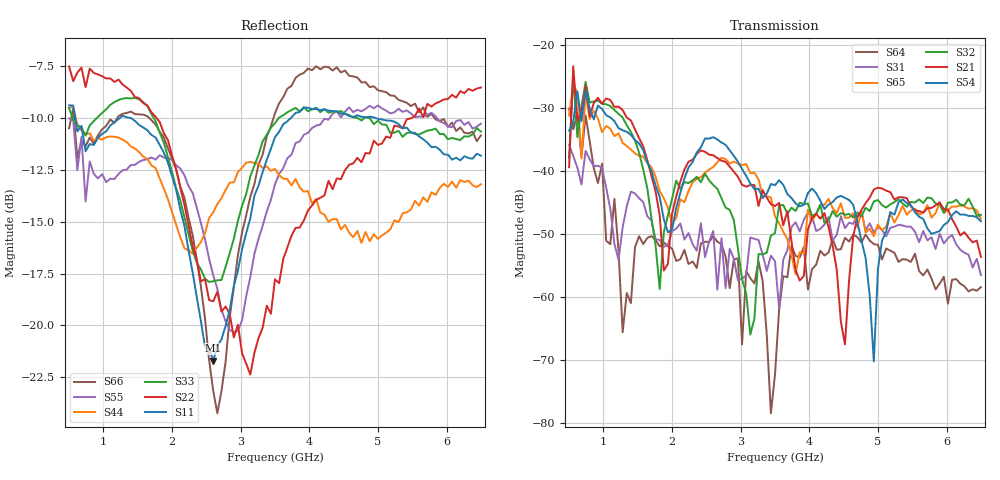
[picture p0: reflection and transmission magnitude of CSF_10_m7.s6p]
!Keysight Technologies,M9804A,MY58100912,A.14.10.03
!Date: Thursday, April 27, 2023 10:28:33
!Correction: S11(C  6-Port  )
!S12(C  6-Port  )
!S13(C  6-Port  )
!S14(C  6-Port  )
!S15(C  6-Port  )
!S16(C  6-Port  )
!S21(C  6-Port  )
!S22(C  6-Port  )
!S23(C  6-Port  )
!S24(C  6-Port  )
!S25(C  6-Port  )
!S26(C  6-Port  )
!S31(C  6-Port  )
!S32(C  6-Port  )
!S33(C  6-Port  )
!S34(C  6-Port  )
!S35(C  6-Port  )
!S36(C  6-Port  )
!S41(C  6-Port  )
!S42(C  6-Port  )
!S43(C  6-Port  )
!S44(C  6-Port  )
!S45(C  6-Port  )
!S46(C  6-Port  )
!S51(C  6-Port  )
!S52(C  6-Port  )
!S53(C  6-Port  )
!S54(C  6-Port  )
!S55(C  6-Port  )
!S56(C  6-Port  )
!S61(C  6-Port  )
!S62(C  6-Port  )
!S63(C  6-Port  )
!S64(C  6-Port  )
!S65(C  6-Port  )
!S66(C  6-Port  )
!S6P File: Measurement: :
# Hz S  RI  R 50
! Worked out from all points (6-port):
!   101 points, 500 MHz to 6.5 GHz, reference 50 ohm
!   strongest paths, dB at 500 MHz, 2 GHz, 3.5 GHz, 5 GHz, 6.5 GHz:
!     S54: -33.6, -49.3, -42.2, -55.5, -47.9
!     S21: -39.3, -46.8, -45.5, -42.6, -53.6
!     S32: -37.9, -44.4, -49.8, -44.6, -46.9
!     S65: -31.1, -48.3, -47.2, -48.5, -47.5
!     S31: -35.8, -49.5, -54.3, -48.9, -56.5
!     S64: -30.0, -52.3, -72.3, -51.7, -58.4
!   lowest |S11| = -21.7 dB at 2.6 GHz (marker M1), VSWR 1.18, Z = 42.7 + j2.11 ohm
!   |S11| at or under -10 dB: 589.2 MHz to 1.237 GHz (647.7 MHz wide, 70.9 % of centre); 1.402 GHz to 3.73 GHz (2.328 GHz wide, 90.7 % of centre); 4.969 GHz to end of sweep
